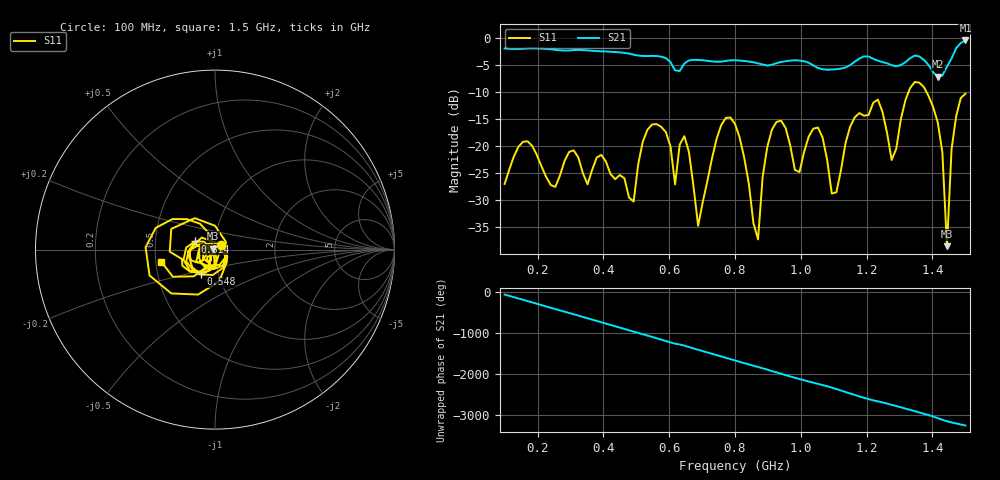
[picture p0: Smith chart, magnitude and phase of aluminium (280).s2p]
! NanoVNA-App
! Date: 2025-09-25 14:57:27
! Start: 100MHz Stop: 1,5GHz Points: 101
! S-Parameter data: F S11 S21 S12 S22
# Hz S RI R 50
!  Frequency  S11_Real  S11_Imag  S21_Real  S21_Imag  S12_Real  S12_Imag  S22_Real  S22_Imag
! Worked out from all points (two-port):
!   101 points, 100 MHz to 1.5 GHz, reference 50 ohm
!   highest |S21| = -0.45 dB at 1.5 GHz (marker M1); lowest = -7.2 dB at 1.416 GHz (marker M2)
!   |S21| within 3 dB of the highest: start of sweep to 575.6 MHz; 1.46 GHz to end of sweep (the widest 2 of 4)
!   lowest |S11| = -38.5 dB at 1.444 GHz (marker M3), VSWR 1.02, Z = 49 + j0.567 ohm
!   |S11| at or under -10 dB: start of sweep to 1.327 GHz; 1.382 GHz to end of sweep
!   S12 and S22 are empty: the file has one direction only
!   S11 on the Smith chart (normalised r, x): 100 MHz: 1.07, +0.06; 548 MHz: 0.82, -0.23; 814 MHz: 0.80, +0.07; 1.5 GHz: 0.54, -0.08
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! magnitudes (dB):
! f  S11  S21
! 100 MHz  -27.0  -1.9
! 338 MHz  -25.0  -2.2
! 492 MHz  -30.2  -3.1
! 548 MHz  -16.0  -3.3
! 576 MHz  -16.4  -3.5
! 618 MHz  -27.0  -6.0
! 646 MHz  -18.1  -4.7
! 688 MHz  -34.7  -4.1
! 800 MHz  -15.9  -4.1
! 814 MHz  -18.4  -4.2
! 870 MHz  -37.2  -4.7
! 912 MHz  -17.0  -4.9
! 996 MHz  -24.8  -4.2
! 1.038 GHz  -16.7  -5.1
! 1.094 GHz  -28.7  -5.8
! 1.234 GHz  -11.4  -4.2
! 1.276 GHz  -22.6  -5.0
! 1.346 GHz  -8.1  -3.2
! 1.416 GHz  -15.6  -7.2
! 1.444 GHz  -38.5  -5.3
! 1.458 GHz  -20.5  -3.8
! 1.5 GHz  -10.3  -0.5
